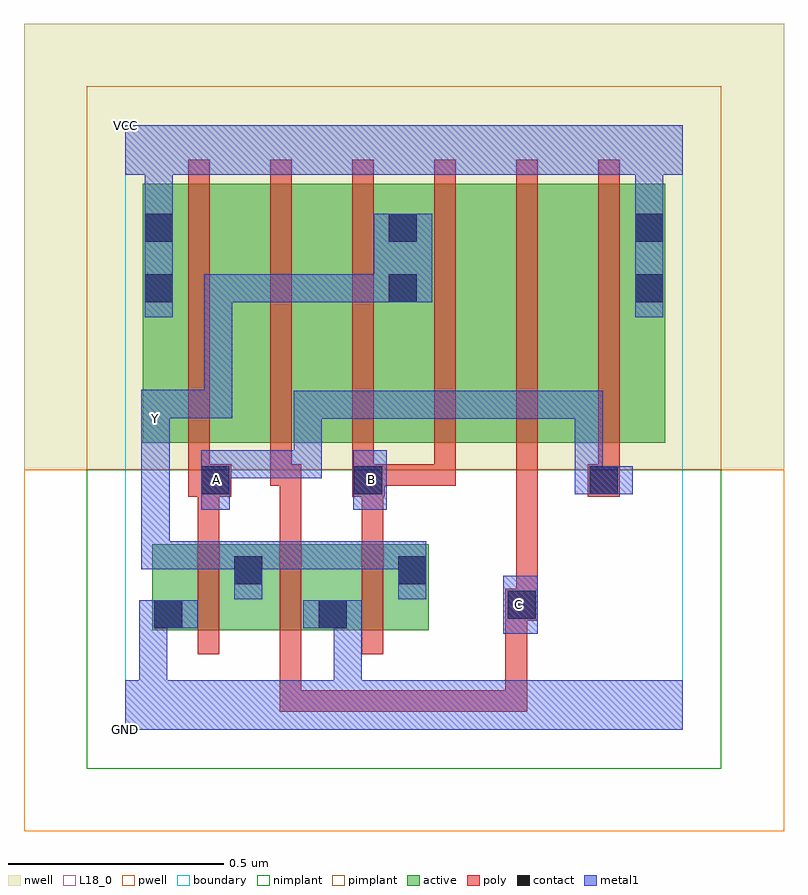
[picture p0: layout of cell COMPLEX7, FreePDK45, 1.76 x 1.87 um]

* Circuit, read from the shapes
.subckt COMPLEX7 A B C GND VCC Y
M1 Y A GND VSUBS nfet w=0.2u l=0.05u
M2 GND C Y VSUBS nfet w=0.2u l=0.05u
M3 Y B GND VSUBS nfet w=0.2u l=0.05u
M4 n1 A VCC n2 pfet w=0.6u l=0.05u
M5 n3 C n1 n2 pfet w=0.6u l=0.05u
M6 Y B n3 n2 pfet w=0.6u l=0.05u
M7 n4 B Y n2 pfet w=0.6u l=0.05u
M8 n5 C n4 n2 pfet w=0.6u l=0.05u
M9 VCC A n5 n2 pfet w=0.6u l=0.05u
.ends

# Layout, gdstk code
import gdstk
lib = gdstk.Library(unit=1e-6, precision=1e-09)
def R(c, l, rs):  # rectangles x0, y0, x1, y1
    for r in rs: c.add(gdstk.rectangle(r[:2], r[2:], *l))
def A(c, l, x, y, w, h, nx, ny, dx, dy):  # array of equal rectangles
    R(c, l, [(x+i*dx, y+j*dy, x+i*dx+w, y+j*dy+h) for i in range(nx) for j in range(ny)])
active = (1, 0)
pwell = (2, 0)
nwell = (3, 0)
nimplant = (4, 0)
pimplant = (5, 0)
poly = (9, 0)
contact = (10, 0)
metal1 = (11, 0)
L18_0 = (18, 0)
boundary = (235, 0)

complex7 = lib.new_cell('COMPLEX7')
R(complex7, active, [(0.062,0.23,0.322,0.43), (0.062,0.23,0.137,0.43), (0.247,0.23,0.517,0.43), (0.442,0.23,0.702,0.43), (0.442,0.23,0.517,0.397), (0.247,0.332,0.322,0.43), (0.627,0.332,0.702,0.43), (0.04,0.665,0.115,1.265), (0.04,0.665,0.265,1.265), (0.265,0.665,0.455,1.265), (0.455,0.665,0.68,1.265), (0.605,0.665,0.835,1.265), (0.835,0.665,1.025,1.265), (1.025,0.665,1.25,1.265), (1.175,0.665,1.25,1.265), (0.605,0.707,0.68,1.2)])
R(complex7, pwell, [(-0.235,-0.235,1.525,0.602)])
R(complex7, nwell, [(-0.235,0.602,1.525,1.635)])
R(complex7, nimplant, [(-0.09,-0.09,1.38,0.602)])
R(complex7, pimplant, [(-0.09,0.602,1.38,1.49)])
A(complex7, poly, 0.167, 0.175, 0.05, 0.31, 3, 1, 0.19, 0)
A(complex7, poly, 0.145, 0.565, 0.05, 0.095, 4, 1, 0.19, 0)
A(complex7, poly, 0.145, 0.61, 0.05, 0.71, 6, 1, 0.19, 0)
R(complex7, poly, [(0.357,0.042,0.407,0.092), (0.357,0.042,0.407,0.092), (0.357,0.042,0.407,0.092), (0.357,0.042,0.54,0.092), (0.357,0.042,0.407,0.225), (0.49,0.042,0.54,0.092), (0.49,0.042,0.54,0.092), (0.49,0.042,0.54,0.092), (0.49,0.042,0.732,0.092), (0.682,0.042,0.732,0.092), (0.682,0.042,0.93,0.092), (0.88,0.042,0.93,0.092), (0.88,0.042,0.93,0.092), (0.88,0.042,0.93,0.092), (0.88,0.042,0.93,0.302), (0.88,0.252,0.955,0.327), (0.88,0.252,0.93,0.302), (0.88,0.252,0.93,0.302), (0.88,0.252,0.93,0.302), (0.88,0.252,0.93,0.302), (0.905,0.277,0.955,0.66), (0.167,0.435,0.217,0.59), (0.357,0.435,0.407,0.615), (0.547,0.435,0.597,0.59), (0.145,0.54,0.245,0.615), (0.525,0.54,0.6,0.615), (1.07,0.54,1.145,0.615), (0.335,0.565,0.407,0.615), (0.55,0.565,0.6,0.615), (0.55,0.565,0.6,0.615), (0.55,0.565,0.765,0.615), (0.715,0.565,0.765,0.615), (1.095,0.565,1.145,0.66)])
R(complex7, contact, [(0.067,0.235,0.132,0.3), (0.447,0.235,0.512,0.3), (0.885,0.257,0.95,0.322), (0.252,0.337,0.317,0.402), (0.632,0.337,0.697,0.402), (0.175,0.545,0.24,0.61), (0.53,0.545,0.595,0.61), (1.075,0.545,1.14,0.61), (0.045,0.99,0.11,1.055), (0.61,0.99,0.675,1.055), (1.18,0.99,1.245,1.055), (0.045,1.13,0.11,1.195), (0.61,1.13,0.675,1.195), (1.18,1.13,1.245,1.195)])
R(complex7, metal1, [(0,0,1.29,0.115), (0.032,0.05,0.097,0.3), (0.482,0.05,0.547,0.115), (0.482,0.05,0.547,0.115), (0.482,0.05,0.547,0.3), (0.875,0.222,0.955,0.357), (0.032,0.235,0.097,0.3), (0.032,0.235,0.097,0.3), (0.032,0.235,0.097,0.3), (0.032,0.235,0.097,0.3), (0.032,0.235,0.167,0.3), (0.412,0.235,0.547,0.3), (0.482,0.235,0.547,0.3), (0.482,0.235,0.547,0.3), (0.252,0.302,0.317,0.437), (0.632,0.302,0.697,0.437), (0.037,0.372,0.102,0.437), (0.037,0.372,0.317,0.437), (0.037,0.372,0.102,0.717), (0.252,0.372,0.317,0.437), (0.252,0.372,0.317,0.437), (0.252,0.372,0.455,0.437), (0.39,0.372,0.455,0.437), (0.39,0.372,0.455,0.437), (0.39,0.372,0.455,0.437), (0.39,0.372,0.64,0.437), (0.575,0.372,0.64,0.437), (0.575,0.372,0.697,0.437), (0.175,0.51,0.242,0.647), (0.527,0.51,0.605,0.647), (1.04,0.545,1.105,0.61), (1.04,0.545,1.105,0.61), (1.04,0.545,1.175,0.61), (1.04,0.545,1.105,0.785), (0.177,0.582,0.242,0.647), (0.177,0.582,0.242,0.647), (0.177,0.582,0.455,0.647), (0.39,0.582,0.455,0.647), (0.39,0.582,0.455,0.647), (0.39,0.582,0.455,0.647), (0.39,0.582,0.455,0.785), (0.037,0.652,0.102,0.787), (0.39,0.72,0.455,0.785), (0.39,0.72,0.592,0.785), (0.527,0.72,0.592,0.785), (0.527,0.72,0.592,0.785), (0.527,0.72,0.592,0.785), (0.527,0.72,0.777,0.785), (0.712,0.72,0.777,0.785), (0.712,0.72,0.915,0.785), (0.85,0.72,0.915,0.785), (0.85,0.72,0.915,0.785), (0.85,0.72,0.915,0.785), (0.85,0.72,1.105,0.785), (1.04,0.72,1.105,0.785), (0.037,0.722,0.102,0.787), (0.037,0.722,0.102,0.787), (0.037,0.722,0.102,0.787), (0.037,0.722,0.102,0.787), (0.037,0.722,0.247,0.787), (0.182,0.722,0.247,0.787), (0.182,0.722,0.247,1.055), (0.045,0.955,0.11,1.23), (1.18,0.955,1.245,1.23), (0.182,0.99,0.247,1.055), (0.182,0.99,0.455,1.055), (0.39,0.99,0.455,1.055), (0.39,0.99,0.455,1.055), (0.39,0.99,0.455,1.055), (0.39,0.99,0.64,1.055), (0.575,0.99,0.64,1.055), (0.575,0.99,0.64,1.055), (0.575,0.99,0.71,1.195), (0.045,1.165,0.11,1.35), (1.18,1.165,1.245,1.35), (0,1.285,1.29,1.4)])
R(complex7, L18_0, [(0,0,1.29,0.115), (0.032,0.05,0.097,0.3), (0.482,0.05,0.547,0.115), (0.482,0.05,0.547,0.115), (0.482,0.05,0.547,0.3), (0.875,0.222,0.955,0.357), (0.032,0.235,0.097,0.3), (0.032,0.235,0.097,0.3), (0.032,0.235,0.097,0.3), (0.032,0.235,0.097,0.3), (0.032,0.235,0.167,0.3), (0.412,0.235,0.547,0.3), (0.482,0.235,0.547,0.3), (0.482,0.235,0.547,0.3), (0.877,0.257,0.942,0.322), (0.252,0.302,0.317,0.437), (0.632,0.302,0.697,0.437), (0.037,0.372,0.102,0.437), (0.037,0.372,0.102,0.717), (0.037,0.372,0.317,0.437), (0.252,0.372,0.317,0.437), (0.252,0.372,0.317,0.437), (0.252,0.372,0.455,0.437), (0.39,0.372,0.455,0.437), (0.39,0.372,0.455,0.437), (0.39,0.372,0.455,0.437), (0.39,0.372,0.64,0.437), (0.575,0.372,0.64,0.437), (0.575,0.372,0.697,0.437), (0.175,0.51,0.242,0.647), (0.527,0.51,0.605,0.647), (1.04,0.545,1.105,0.61), (1.04,0.545,1.105,0.61), (1.04,0.545,1.175,0.61), (1.04,0.545,1.105,0.785), (0.177,0.547,0.242,0.612), (0.537,0.547,0.602,0.612), (0.177,0.582,0.242,0.647), (0.177,0.582,0.242,0.647), (0.177,0.582,0.455,0.647), (0.39,0.582,0.455,0.647), (0.39,0.582,0.455,0.647), (0.39,0.582,0.455,0.647), (0.39,0.582,0.455,0.785), (0.037,0.652,0.102,0.787), (0.037,0.687,0.102,0.752), (0.39,0.72,0.455,0.785), (0.39,0.72,0.592,0.785), (0.527,0.72,0.592,0.785), (0.527,0.72,0.592,0.785), (0.527,0.72,0.592,0.785), (0.527,0.72,0.777,0.785), (0.712,0.72,0.777,0.785), (0.712,0.72,0.915,0.785), (0.85,0.72,0.915,0.785), (0.85,0.72,0.915,0.785), (0.85,0.72,0.915,0.785), (0.85,0.72,1.105,0.785), (1.04,0.72,1.105,0.785), (0.037,0.722,0.102,0.787), (0.037,0.722,0.102,0.787), (0.037,0.722,0.102,0.787), (0.037,0.722,0.102,0.787), (0.037,0.722,0.247,0.787), (0.182,0.722,0.247,0.787), (0.182,0.722,0.247,1.055), (0.045,0.955,0.11,1.23), (1.18,0.955,1.245,1.23), (0.182,0.99,0.247,1.055), (0.182,0.99,0.455,1.055), (0.39,0.99,0.455,1.055), (0.39,0.99,0.455,1.055), (0.39,0.99,0.455,1.055), (0.39,0.99,0.64,1.055), (0.575,0.99,0.64,1.055), (0.575,0.99,0.64,1.055), (0.575,0.99,0.71,1.195), (0.045,1.165,0.11,1.35), (1.18,1.165,1.245,1.35), (0,1.285,1.29,1.4)])
R(complex7, boundary, [(0,0,1.29,1.4)])
complex7.add(gdstk.Label('A', (0.21,0.58), layer=11, texttype=0))
complex7.add(gdstk.Label('B', (0.57,0.58), layer=11, texttype=0))
complex7.add(gdstk.Label('C', (0.91,0.29), layer=11, texttype=0))
complex7.add(gdstk.Label('Y', (0.07,0.72), layer=11, texttype=0))
complex7.add(gdstk.Label('VCC', (0,1.4), layer=11, texttype=0))
complex7.add(gdstk.Label('GND', (0,0), layer=11, texttype=0))

lib.write_gds('COMPLEX7.gds')
